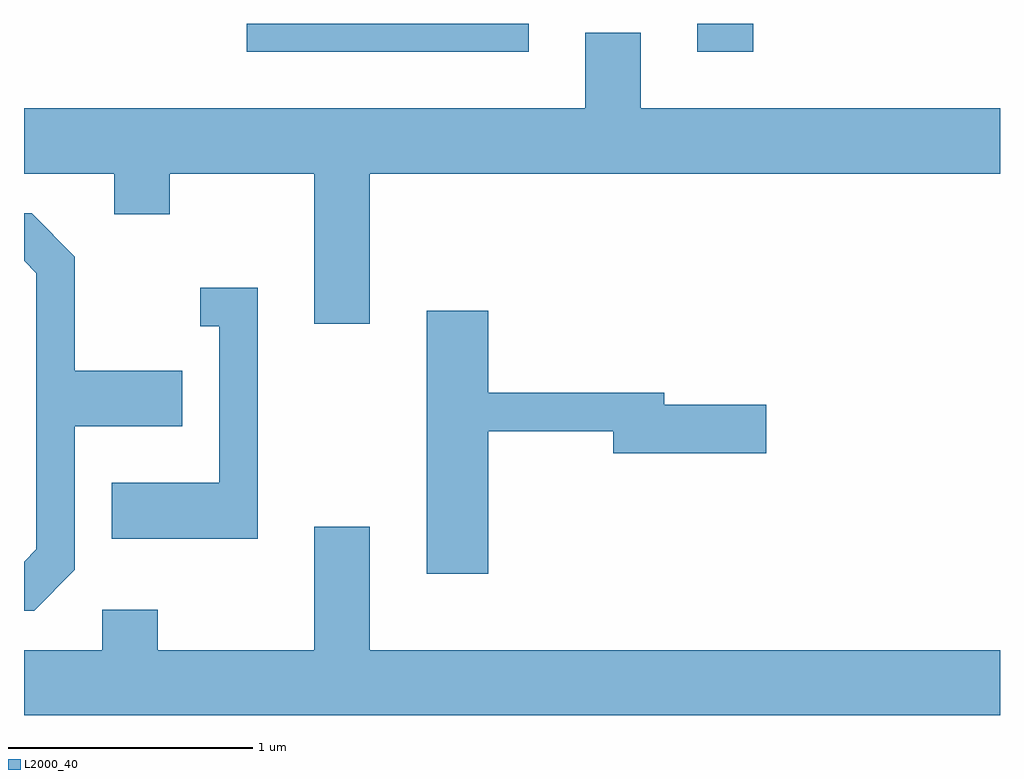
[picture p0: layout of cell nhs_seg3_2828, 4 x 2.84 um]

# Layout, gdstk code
import gdstk
lib = gdstk.Library(unit=1e-6, precision=1e-09)
def R(c, l, rs):  # rectangles x0, y0, x1, y1
    for r in rs: c.add(gdstk.rectangle(r[:2], r[2:], *l))
def P(c, l, *ps):  # polygons
    for p in ps: c.add(gdstk.Polygon(p, *l))
L2000_40 = (2000, 40)

nhs_seg3_2828 = lib.new_cell('nhs_seg3_2828')
R(nhs_seg3_2828, L2000_40, [(268.523,1199.776,269.679,1199.892), (270.371,1199.776,270.599,1199.892)])
P(nhs_seg3_2828, L2000_40, [(269.029,1199.276),(271.611,1199.276),(271.611,1199.544),(270.139,1199.544),(270.139,1199.854),(269.911,1199.854),(269.911,1199.544),(267.611,1199.544),(267.611,1199.276),(267.981,1199.276),(267.981,1199.111),(268.209,1199.111),(268.209,1199.276),(268.801,1199.276),(268.801,1198.661),(269.029,1198.661)],
  [(267.819,1197.654),(267.819,1198.241),(268.259,1198.241),(268.259,1198.469),(267.819,1198.469),(267.819,1198.937),(267.642,1199.114),(267.611,1199.114),(267.611,1198.919),(267.661,1198.869),(267.661,1197.737),(267.611,1197.686),(267.611,1197.486),(267.652,1197.486)],
  [(268.569,1198.809),(268.333,1198.809),(268.333,1198.651),(268.411,1198.651),(268.411,1198.009),(267.971,1198.009),(267.971,1197.781),(268.569,1197.781)],
  [(269.514,1198.221),(270.026,1198.221),(270.026,1198.131),(270.654,1198.131),(270.654,1198.329),(270.234,1198.329),(270.234,1198.379),(269.514,1198.379),(269.514,1198.714),(269.261,1198.714),(269.261,1197.636),(269.514,1197.636)],
  [(271.611,1197.324),(269.029,1197.324),(269.029,1197.829),(268.801,1197.829),(268.801,1197.324),(268.159,1197.324),(268.159,1197.489),(267.931,1197.489),(267.931,1197.324),(267.611,1197.324),(267.611,1197.056),(271.611,1197.056)])

lib.write_gds('nhs_seg3_2828.gds')
